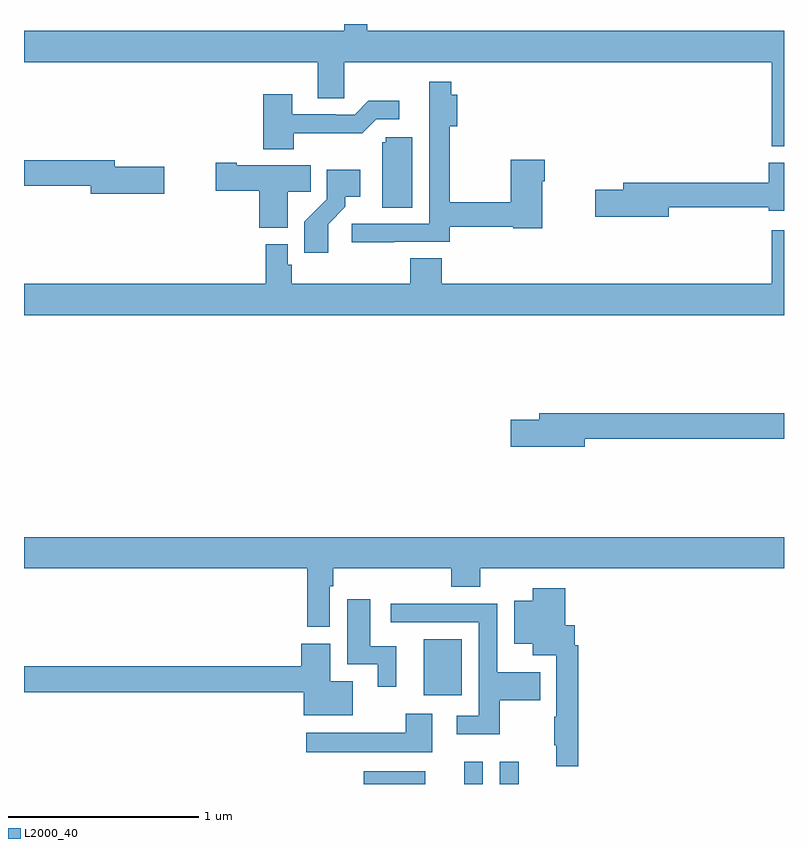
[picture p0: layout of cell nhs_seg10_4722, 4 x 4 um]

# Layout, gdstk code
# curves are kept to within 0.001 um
import gdstk
lib = gdstk.Library(unit=1e-6, precision=1e-09)
def R(c, l, rs):  # rectangles x0, y0, x1, y1
    for r in rs: c.add(gdstk.rectangle(r[:2], r[2:], *l))
def P(c, l, *ps):  # polygons
    for p in ps: c.add(gdstk.Polygon(p, *l))
L2000_40 = (2000, 40)

nhs_seg10_4722 = lib.new_cell('nhs_seg10_4722')
R(nhs_seg10_4722, L2000_40, [(382.787,1312.5,383.113,1312.567), (383.318,1312.5,383.415,1312.618), (383.505,1312.5,383.603,1312.618), (383.105,1312.967,383.305,1313.263)])
P(nhs_seg10_4722, L2000_40, [(385,1316.464),(382.807,1316.464),(382.807,1316.5),(382.685,1316.5),(382.685,1316.464),(381,1316.464),(381,1316.3),(382.547,1316.3),(382.547,1316.11),(382.686,1316.11),(382.686,1316.3),(384.936,1316.3),(384.936,1315.856),(385,1315.856)],
  [(382.949,1315.353),(383.242,1315.353),(383.242,1315.434),(383.574,1315.434),(383.574,1315.426),(383.728,1315.426),(383.728,1315.673),(383.741,1315.673),(383.741,1315.786),(383.563,1315.786),(383.563,1315.562),(383.242,1315.562),(383.242,1315.963),(383.279,1315.963),(383.279,1316.128),(383.249,1316.128),(383.249,1316.197),(383.132,1316.197),(383.132,1315.974),(383.133,1315.974),(383.133,1315.449),(382.725,1315.449),(382.725,1315.351),(382.949,1315.351)],
  [(382.419,1315.926),(382.781,1315.925),(382.854,1315.998),(382.975,1315.998),(382.975,1316.095),(382.813,1316.095),(382.74,1316.022),(382.64,1316.022),(382.64,1316.025),(382.411,1316.025),(382.411,1316.131),(382.259,1316.131),(382.259,1315.841),(382.419,1315.841)],
  [(383.044,1315.905),(382.905,1315.905),(382.905,1315.878),(382.886,1315.878),(382.886,1315.534),(383.044,1315.534)],
  [(381.739,1315.748),(381.478,1315.748),(381.478,1315.784),(381,1315.784),(381,1315.648),(381.35,1315.648),(381.35,1315.606),(381.739,1315.606)],
  [(384.394,1315.536),(384.92,1315.536),(384.92,1315.517),(385,1315.517),(385,1315.771),(384.92,1315.771),(384.92,1315.664),(384.155,1315.664),(384.155,1315.628),(384.006,1315.628),(384.006,1315.486),(384.394,1315.486)],
  [(382.387,1315.618),(382.508,1315.618),(382.508,1315.756),(382.12,1315.756),(382.12,1315.769),(382.008,1315.769),(382.008,1315.622),(382.238,1315.622),(382.238,1315.427),(382.387,1315.427)],
  [(382.6,1315.447),(382.69,1315.537),(382.69,1315.592),(382.771,1315.592),(382.771,1315.732),(382.593,1315.732),(382.593,1315.577),(382.474,1315.458),(382.474,1315.296),(382.6,1315.296)],
  [(385,1315.414),(384.936,1315.414),(384.936,1315.132),(383.198,1315.132),(383.198,1315.268),(383.033,1315.268),(383.033,1315.132),(382.409,1315.132),(382.409,1315.233),(382.389,1315.233),(382.389,1315.342),(382.273,1315.342),(382.273,1315.132),(381,1315.132),(381,1314.968),(385,1314.968)],
  [(383.95,1314.316),(385,1314.316),(385,1314.452),(383.711,1314.452),(383.711,1314.416),(383.562,1314.416),(383.562,1314.274),(383.95,1314.274)],
  [(382.608,1313.54),(382.628,1313.54),(382.628,1313.636),(383.249,1313.636),(383.249,1313.537),(383.401,1313.537),(383.401,1313.636),(385,1313.636),(385,1313.8),(381,1313.8),(381,1313.636),(382.492,1313.636),(382.492,1313.328),(382.608,1313.328)],
  [(383.918,1313.231),(383.898,1313.231),(383.898,1313.335),(383.849,1313.335),(383.849,1313.53),(383.678,1313.53),(383.678,1313.464),(383.579,1313.464),(383.579,1313.237),(383.678,1313.237),(383.678,1313.177),(383.802,1313.177),(383.802,1312.853),(383.79,1312.853),(383.79,1312.705),(383.801,1312.705),(383.801,1312.593),(383.918,1312.593)],
  [(382.96,1313.226),(382.822,1313.226),(382.822,1313.473),(382.7,1313.473),(382.7,1313.13),(382.862,1313.13),(382.862,1313.013),(382.96,1313.013)],
  [(383.503,1312.942),(383.717,1312.942),(383.717,1313.089),(383.49,1313.089),(383.49,1313.448),(383.165,1313.448),(383.165,1313.45),(382.929,1313.45),(382.929,1313.352),(383.394,1313.352),(383.394,1312.86),(383.277,1312.86),(383.277,1312.763),(383.503,1312.763)],
  [(382.729,1313.041),(382.612,1313.041),(382.612,1313.239),(382.46,1313.239),(382.46,1313.12),(381,1313.12),(381,1312.984),(382.472,1312.984),(382.472,1312.862),(382.729,1312.862)],
  [(383.149,1312.87),(383.009,1312.87),(383.009,1312.771),(382.485,1312.771),(382.485,1312.667),(383.149,1312.667)])

lib.write_gds('nhs_seg10_4722.gds')
